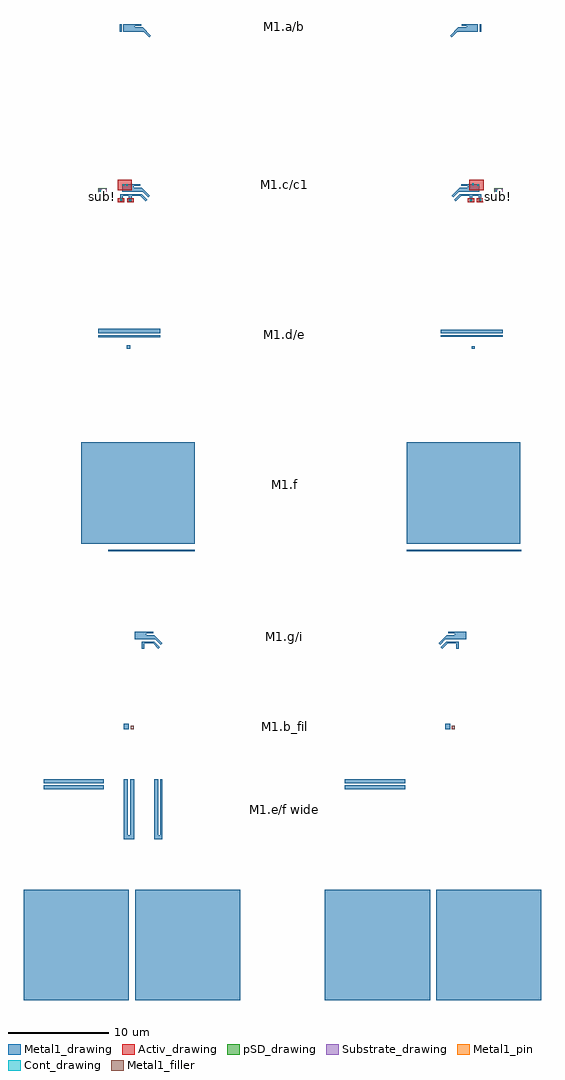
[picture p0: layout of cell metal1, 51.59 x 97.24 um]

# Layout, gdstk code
import gdstk
lib = gdstk.Library(unit=1e-6, precision=1e-09)
def R(c, l, rs):  # rectangles x0, y0, x1, y1
    for r in rs: c.add(gdstk.rectangle(r[:2], r[2:], *l))
def P(c, l, *ps):  # polygons
    for p in ps: c.add(gdstk.Polygon(p, *l))
Activ_drawing = (1, 0)
Cont_drawing = (6, 0)
Metal1_drawing = (8, 0)
Metal1_pin = (8, 2)
Metal1_filler = (8, 22)
pSD_drawing = (14, 0)
Substrate_drawing = (40, 0)

metal1 = lib.new_cell('metal1')
R(metal1, Activ_drawing, [(-16.605,-24.2,-15.965,-23.775), (-15.67,-24.2,-15.03,-23.79), (18.235,-24.2,18.875,-23.79), (19.165,-24.2,19.805,-23.79), (-18.515,-23.62,-17.735,-22.84), (20.94,-23.62,21.72,-22.84), (-16.64,-23,-15.21,-21.95), (18.415,-23,19.845,-21.95)])
R(metal1, Cont_drawing, [(-15.45,-24.06,-15.29,-23.9), (18.475,-24.06,18.635,-23.9), (19.425,-24.02,19.585,-23.86), (-16.385,-24.01,-16.225,-23.85), (-18.375,-23.48,-18.215,-23.32), (-18.035,-23.48,-17.875,-23.32), (21.08,-23.48,21.24,-23.32), (21.42,-23.48,21.58,-23.32), (-18.375,-23.14,-18.215,-22.98), (-18.035,-23.14,-17.875,-22.98), (21.08,-23.14,21.24,-22.98), (21.42,-23.14,21.58,-22.98), (-16.14,-22.54,-15.98,-22.38), (-15.76,-22.54,-15.6,-22.38), (19.195,-22.54,19.355,-22.38), (18.68,-22.475,18.84,-22.315)])
R(metal1, Metal1_drawing, [(-26,-103.665,-15.5,-92.665), (-14.9,-103.665,-4.4,-92.665), (4,-103.665,14.5,-92.665), (15.09,-103.665,25.59,-92.665), (-24,-82.685,-18,-82.285), (6,-82.675,12,-82.275), (-24,-82.065,-18,-81.665), (6,-82.065,12,-81.665), (-16,-76.665,-15.5,-76.165), (16,-76.665,16.5,-76.165), (-17.56,-58.96,-8.96,-58.8), (12.165,-58.95,23.565,-58.79), (-20.27,-58.2,-8.96,-48.1), (12.165,-58.2,23.475,-48.1), (-15.735,-38.77,-15.365,-38.44), (18.63,-38.77,18.94,-38.52), (-18.55,-37.615,-12.38,-37.455), (15.585,-37.575,21.755,-37.415), (-18.55,-37.235,-12.38,-36.8), (15.585,-37.235,21.755,-36.89), (21.08,-23.575,21.58,-22.92), (-18.375,-23.55,-17.875,-22.895), (-18.375,-23.53,-17.875,-22.93), (21.08,-23.53,21.58,-22.93), (-16.405,-7.195,-16.245,-6.425), (19.44,-7.195,19.59,-6.445)])
P(metal1, Metal1_drawing, [(-16,-87.665),(-16,-81.665),(-15.6,-81.665),(-15.6,-87.265),(-15.39,-87.265),(-15.39,-81.665),(-14.99,-81.665),(-14.99,-87.665)],
  [(-12.99,-87.665),(-12.99,-81.665),(-12.59,-81.665),(-12.59,-87.265),(-12.38,-87.265),(-12.38,-81.665),(-12.18,-81.665),(-12.18,-87.665)],
  [(15.505,-68.26),(15.37,-68.125),(16.18,-67.315),(16.98,-67.315),(16.98,-67.135),(16.31,-67.135),(16.31,-66.975),(18.12,-66.975),(18.12,-67.745),(16.02,-67.745)],
  [(15.7,-68.665),(15.55,-68.515),(16.1,-67.965),(17.36,-67.965),(17.36,-68.655),(17.1,-68.655),(17.1,-68.125),(16.24,-68.125)],
  [(-13.475,-7.735),(-14.015,-7.195),(-16.065,-7.195),(-16.065,-6.425),(-14.255,-6.425),(-14.255,-6.585),(-14.925,-6.585),(-14.925,-6.765),(-14.125,-6.765),(-13.315,-7.575)],
  [(-13.84,-24.07),(-14.38,-23.53),(-15.24,-23.53),(-15.24,-24.06),(-15.5,-24.06),(-15.5,-23.53),(-16.125,-23.53),(-16.125,-24.06),(-16.385,-24.06),(-16.385,-23.37),(-14.24,-23.37),(-13.69,-23.92)],
  [(-13.6,-23.69),(-14.14,-23.15),(-16.19,-23.15),(-16.19,-22.38),(-14.38,-22.38),(-14.38,-22.54),(-15.05,-22.54),(-15.05,-22.72),(-14.25,-22.72),(-13.44,-23.53)],
  [(-12.565,-68.665),(-13.105,-68.125),(-13.965,-68.125),(-13.965,-68.655),(-14.225,-68.655),(-14.225,-67.965),(-12.965,-67.965),(-12.415,-68.515)],
  [(-12.325,-68.285),(-12.865,-67.745),(-14.915,-67.745),(-14.915,-66.975),(-13.105,-66.975),(-13.105,-67.135),(-13.775,-67.135),(-13.775,-67.315),(-12.975,-67.315),(-12.165,-68.125)],
  [(16.805,-23.69),(16.645,-23.53),(17.455,-22.72),(18.255,-22.72),(18.255,-22.54),(17.585,-22.54),(17.585,-22.38),(19.395,-22.38),(19.395,-23.15),(17.345,-23.15)],
  [(16.68,-7.735),(16.52,-7.575),(17.33,-6.765),(18.13,-6.765),(18.13,-6.595),(17.645,-6.595),(17.645,-6.445),(19.27,-6.445),(19.27,-7.195),(17.22,-7.195)],
  [(17.045,-24.07),(16.895,-23.92),(17.445,-23.37),(19.585,-23.37),(19.585,-24.06),(19.325,-24.06),(19.325,-23.53),(18.705,-23.53),(18.705,-24.06),(18.445,-24.06),(18.445,-23.53),(17.585,-23.53)])
R(metal1, Metal1_pin, [(-18.375,-23.48,-17.875,-22.98), (21.08,-23.48,21.58,-22.98)])
R(metal1, Metal1_filler, [(-15.31,-76.665,-15.01,-76.365), (16.66,-76.665,16.96,-76.365)])
R(metal1, pSD_drawing, [(-18.545,-23.65,-17.705,-22.81), (20.91,-23.65,21.75,-22.81)])
R(metal1, Substrate_drawing, [(-18.515,-23.62,-17.735,-22.84), (20.94,-23.62,21.72,-22.84)])
metal1.add(gdstk.Label('M1.e/f wide', (0,-84.665), layer=63, texttype=0))
metal1.add(gdstk.Label('sub!', (21.33,-23.61), layer=63, texttype=0))
metal1.add(gdstk.Label('sub!', (-18.125,-23.61), layer=63, texttype=0))
metal1.add(gdstk.Label('M1.a/b', (0,-6.695), layer=63, texttype=0))
metal1.add(gdstk.Label('M1.c/c1', (0,-22.435), layer=63, texttype=0))
metal1.add(gdstk.Label('M1.d/e', (0,-37.36), layer=63, texttype=0))
metal1.add(gdstk.Label('M1.g/i', (0,-67.415), layer=63, texttype=0))
metal1.add(gdstk.Label('M1.f', (0,-52.3), layer=63, texttype=0))
metal1.add(gdstk.Label('PASS', (-12,5), layer=63, texttype=0))
metal1.add(gdstk.Label('FAIL', (12,5), layer=63, texttype=0))
metal1.add(gdstk.Label('5.16 Metal1', (0,21), layer=63, texttype=0))
metal1.add(gdstk.Label('M1.b_fil', (0,-76.415), layer=63, texttype=0))

lib.write_gds('metal1.gds')
